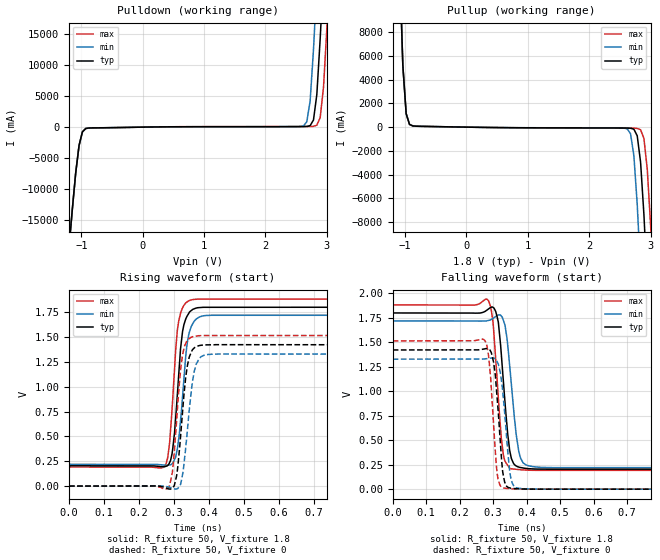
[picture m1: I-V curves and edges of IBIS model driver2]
| IBIS file inv_chain_tr50ps.ibs created by PYS2IBIS3
| Missouri S&T EMC Lab
[IBIS Ver] 7.1
[File Name] inv_chain_tr50ps.ibs
[File Rev] 1.0
[Date] Jul 27, 2026
[Source] Eight-stage inv_chain transistor model characterized with s2ibispy
[Notes] Parameter selection; sim_time=9.970e-10, tr=tf=5.000e-11.
[Component] invchain
[Manufacturer] s2ibispy study
[Package]
| variable   typ   min   max
R_pkg 0 NA NA
L_pkg 0H NA NA
C_pkg 0F NA NA
[Pin]  signal_name   model_name   R_pin   L_pin   C_pin
VSSQ   VSSQ   Gnd
VCCQ   VCCQ   Power
| IN IN dummy
PAD   PAD   driver2
| End of Component
| Models and submodels in the file (1): driver2 (Output)
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[Model] driver2
Model_type Output
Polarity Non-Inverting
Enable Active-High
Vinl  = 0.8V
Vinh  = 2V
C_comp 0.4680pF NA NA
[Temperature Range] 27.0000 27.0000 27.0000
[Voltage Range] 1.8000V 1.7000V 1.9000V
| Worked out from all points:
|   slope of the pulldown table from 0 to 0.27 V, typ, clamps not added: 6.79 ohm
|   slope of the pullup table from 0 to 0.27 V, typ, clamps not added: 12.6 ohm
|   rising waveform, R_fixture 50, V_fixture 1.8: 20-80 % time 20.5ps typ, 22.1ps min, 19.1ps max; typ from 0.204 V to 1.8 V
|   rising waveform, R_fixture 50, V_fixture 0: 20-80 % time 21.7ps typ, 23.2ps min, 20.5ps max; typ from 0 V to 1.42 V
|   falling waveform, R_fixture 50, V_fixture 1.8: 20-80 % time 22.9ps typ, 25.5ps min, 20.9ps max; typ from 1.8 V to 0.204 V
|   falling waveform, R_fixture 50, V_fixture 0: 20-80 % time 18.4ps typ, 20ps min, 17.1ps max; typ from 1.42 V to 0 V
[Pulldown]
| Voltage   I(typ)   I(min)   I(max)
-1.8V     -87.88A    -87.88A    -87.88A
-1.2V     -19.4A     -19.4A     -19.4A
-1.036V   -2.952A    -2.948A    -2.955A
-927.3mV  -221.8mA   -216.4mA   -227mA
2.618V    95.77mA    193.1mA    97.15mA
2.727V    244.8mA    4.224A     106.4mA
2.782V    1.151A     12.49A     132.5mA
2.836V    5.27A      23.04A     313.7mA
2.891V    14.25A     33.59A     1.533A
2.946V    24.81A     44.15A     6.464A
3V        35.36A     54.71A     16.02A
3.6V      151.5A     170.8A     132.1A
[Pullup]
| Voltage   I(typ)   I(min)   I(max)
-1.8V     151.4A     151.4A     151.4A
-1.091V   14.2A      14.19A     14.2A
-981.8mV  1.13A      1.129A     1.132A
-872.7mV  99.18mA    97.54mA    100.6mA
2.618V    -78.19mA   -142.5mA   -79.21mA
2.727V    -177.2mA   -2.408A    -86.52mA
2.782V    -728.3mA   -6.523A    -104.6mA
2.836V    -2.952A    -12.18A    -222.3mA
2.891V    -7.391A    -18.4A     -950.7mA
2.946V    -13.22A    -24.62A    -3.561A
3V        -19.44A    -30.85A    -8.297A
3.6V      -87.92A    -99.33A    -76.52A
[Ramp]
| variable   typ   min   max
dV/dt_r 0.8532/0.02161n 0.7968/0.02331n 0.9090/0.02045n
dV/dt_f 0.9575/0.0229n 0.8972/0.02484n 1.0171/0.0213n
R_load = 50
[Rising Waveform]
R_fixture = 50
V_fixture = 1.8
|time   V(typ)   V(min)   V(max)
0s        204.2mV    219.5mV    192.2mV
272.5ps   195.8mV    210.9mV    196.6mV
287.4ps   238.2mV    212.2mV    439.7mV
300.4ps   494.1mV    258.9mV    1.115V
309.4ps   917.2mV    373.5mV    1.567V
323.4ps   1.537V     865.6mV    1.787V
333.3ps   1.681V     1.305V     1.843V
341.3ps   1.734V     1.513V     1.863V
387.2ps   1.8V       1.716V     1.882V
997ps     1.8V       1.719V     1.882V
[Rising Waveform]
R_fixture = 50
V_fixture = 0
|time   V(typ)   V(min)   V(max)
0s        13.08nV    12.76nV    13.48nV
282.4ps   -26.17mV   -7.351mV   -19.2mV
295.4ps   -19.05mV   -22.85mV   140.6mV
308.4ps   127.1mV    -27.44mV   721mV
319.4ps   531.9mV    29.51mV    1.192V
333.3ps   1.096V     389.3mV    1.436V
348.3ps   1.341V     931.3mV    1.496V
363.3ps   1.404V     1.227V     1.511V
393.2ps   1.422V     1.322V     1.515V
997ps     1.422V     1.328V     1.515V
[Falling Waveform]
R_fixture = 50
V_fixture = 1.8
|time   V(typ)   V(min)   V(max)
0s        1.8V       1.719V     1.882V
285.4ps   1.839V     1.722V     1.928V
299.4ps   1.857V     1.744V     1.708V
315.4ps   1.705V     1.781V     936mV
329.3ps   1.153V     1.735V     373.5mV
341.3ps   644.7mV    1.54V      253.7mV
350.3ps   380.5mV    1.224V     209.3mV
374.2ps   228.1mV    425.2mV    200mV
398.2ps   211.3mV    248mV      194.3mV
997ps     204.2mV    219.5mV    192.2mV
[Falling Waveform]
R_fixture = 50
V_fixture = 0
|time   V(typ)   V(min)   V(max)
0s        1.422V     1.328V     1.515V
275.4ps   1.434V     1.331V     1.517V
286.4ps   1.43V      1.336V     1.361V
292.4ps   1.409V     1.339V     1.139V
302.4ps   1.271V     1.338V     595mV
313.4ps   871.3mV    1.291V     125mV
328.3ps   180.5mV    1V         15.36mV
348.3ps   13.11mV    207.4mV    5.125mV
368.3ps   4.686mV    14.15mV    1.817mV
997ps     12.86nV    11.88nV    13.49nV
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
